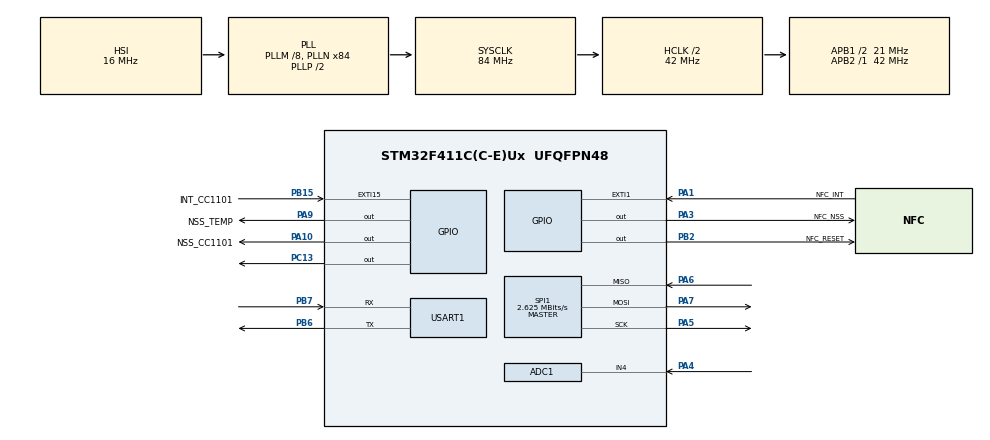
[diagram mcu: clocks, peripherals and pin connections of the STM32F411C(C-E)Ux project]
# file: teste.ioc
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ADC1.Channel-0\#ChannelRegularConversion=ADC_CHANNEL_4
ADC1.NbrOfConversionFlag=1
ADC1.Rank-0\#ChannelRegularConversion=1
ADC1.SamplingTime-0\#ChannelRegularConversion=ADC_SAMPLETIME_3CYCLES
ADC1.master=1
Mcu.Family=STM32F4
Mcu.Name=STM32F411C(C-E)Ux
Mcu.Package=UFQFPN48
NVIC.EXTI15_10_IRQn=true\:0\:0\:false\:false\:true\:true\:true\:true
NVIC.EXTI1_IRQn=true\:0\:0\:false\:false\:true\:true\:true\:true
NVIC.PriorityGroup=NVIC_PRIORITYGROUP_4
NVIC.USART1_IRQn=true\:0\:0\:false\:false\:true\:true\:true\:true
PA1.GPIO_Label=NFC_INT
PA1.GPIO_ModeDefaultEXTI=GPIO_MODE_IT_FALLING
PA1.GPIO_PuPd=GPIO_PULLUP
PA1.Signal=GPXTI1
PA10.GPIO_Label=NSS_CC1101
PA10.PinState=GPIO_PIN_SET
PA10.Signal=GPIO_Output
PA3.GPIO_Label=NFC_NSS
PA3.PinState=GPIO_PIN_SET
PA3.Signal=GPIO_Output
PA4.Signal=ADCx_IN4
PA5.Mode=Full_Duplex_Master
PA5.Signal=SPI1_SCK
PA6.Mode=Full_Duplex_Master
PA6.Signal=SPI1_MISO
PA7.Mode=Full_Duplex_Master
PA7.Signal=SPI1_MOSI
PA9.GPIO_Label=NSS_TEMP
PA9.PinState=GPIO_PIN_SET
PA9.Signal=GPIO_Output
PB15.GPIO_Label=INT_CC1101
PB15.GPIO_ModeDefaultEXTI=GPIO_MODE_IT_FALLING
PB15.GPIO_PuPd=GPIO_PULLUP
PB15.Signal=GPXTI15
PB2.GPIO_Label=NFC_RESET
PB2.PinState=GPIO_PIN_SET
PB2.Signal=GPIO_Output
PB6.Mode=Asynchronous
PB6.Signal=USART1_TX
PB7.Mode=Asynchronous
PB7.Signal=USART1_RX
PC13-ANTI_TAMP.Signal=GPIO_Output
PC14-OSC32_IN.Mode=LSE-External-Oscillator
PC14-OSC32_IN.Signal=RCC_OSC32_IN
PC15-OSC32_OUT.Mode=LSE-External-Oscillator
PC15-OSC32_OUT.Signal=RCC_OSC32_OUT
PH0\ -\ OSC_IN.Mode=HSE-External-Clock-Source
PH0\ -\ OSC_IN.Signal=RCC_OSC_IN
PH1\ -\ OSC_OUT.Mode=HSE-External-Clock-Source
PH1\ -\ OSC_OUT.Signal=RCC_OSC_OUT
ProjectManager.HeapSize=0x200
ProjectManager.StackSize=0x400
ProjectManager.TargetToolchain=CMake
RCC.48MHZClocksFreq_Value=42000000
RCC.AHBCLKDivider=RCC_SYSCLK_DIV2
RCC.AHBFreq_Value=42000000
RCC.APB1CLKDivider=RCC_HCLK_DIV2
RCC.APB1Freq_Value=21000000
RCC.APB1TimFreq_Value=42000000
RCC.APB2Freq_Value=42000000
RCC.APB2TimFreq_Value=42000000
RCC.CortexFreq_Value=42000000
RCC.HCLKFreq_Value=42000000
RCC.HSE_VALUE=25000000
RCC.HSI_VALUE=16000000
RCC.PLLM=8
RCC.PLLN=84
RCC.RCC_RTC_Clock_Source=RCC_RTCCLKSOURCE_LSE
RCC.RCC_RTC_Clock_SourceVirtual=RCC_RTCCLKSOURCE_LSE
RCC.SYSCLKFreq_VALUE=84000000
RCC.SYSCLKSource=RCC_SYSCLKSOURCE_PLLCLK
RCC.VCOOutputFreq_Value=168000000
SH.ADCx_IN4.0=ADC1_IN4,IN4
SPI1.BaudRatePrescaler=SPI_BAUDRATEPRESCALER_16
SPI1.CalculateBaudRate=2.625 MBits/s
SPI1.Direction=SPI_DIRECTION_2LINES
SPI1.Mode=SPI_MODE_MASTER
SPI1.VirtualType=VM_MASTER
USART1.VirtualMode=VM_ASYNC
VP_RTC_VS_RTC_Activate.Mode=RTC_Enabled
VP_RTC_VS_RTC_Calendar.Mode=RTC_Calendar
board=custom

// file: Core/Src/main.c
/* USER CODE BEGIN Header */
/**
  ******************************************************************************
  * @file           : main.c
  * @brief          : Main program body
  ******************************************************************************
  * @attention
  *
  * Copyright (c) 2026 STMicroelectronics.
  * All rights reserved.
  *
  * This software is licensed under terms that can be found in the LICENSE file
  * in the root directory of this software component.
  * If no LICENSE file comes with this software, it is provided AS-IS.
  *
  ******************************************************************************
  */
/* USER CODE END Header */
#include "main.h"

/* USER CODE BEGIN Includes */
#include "config.h"

#if FEATURE_NFC
#include "nfc_module.h"
#endif

#include <stdint.h>
#include <stdio.h>
/* USER CODE END Includes */

ADC_HandleTypeDef hadc1;

RTC_HandleTypeDef hrtc;

SPI_HandleTypeDef hspi1;

UART_HandleTypeDef huart1;

void SystemClock_Config(void);
static void MX_GPIO_Init(void);
static void MX_ADC1_Init(void);
static void MX_RTC_Init(void);
static void MX_SPI1_Init(void);
static void MX_USART1_UART_Init(void);

int main(void)
{

  /* MCU Configuration--------------------------------------------------------*/

  /* Reset of all peripherals, Initializes the Flash interface and the Systick. */
  HAL_Init();

  /* Configure the system clock */
  SystemClock_Config();

  /* Initialize all configured peripherals */
  MX_GPIO_Init();
  MX_ADC1_Init();
  MX_RTC_Init();
  MX_SPI1_Init();
  MX_USART1_UART_Init();
  /* USER CODE BEGIN 2 */
  #if FEATURE_NFC
  NFC_Module_Init();
  #endif
  /* USER CODE END 2 */

  /* Infinite loop */
  while (1)
  {

    /* USER CODE BEGIN 3 */
    #if FEATURE_NFC
    NFC_Module_Process();
    #endif
  }
  /* USER CODE END 3 */
}

void SystemClock_Config(void)
{
  RCC_OscInitTypeDef RCC_OscInitStruct = {0};
  RCC_ClkInitTypeDef RCC_ClkInitStruct = {0};

  /** Configure the main internal regulator output voltage
  */
  __HAL_RCC_PWR_CLK_ENABLE();
  __HAL_PWR_VOLTAGESCALING_CONFIG(PWR_REGULATOR_VOLTAGE_SCALE1);

  /** Initializes the RCC Oscillators according to the specified parameters
  * in the RCC_OscInitTypeDef structure.
  */
  RCC_OscInitStruct.OscillatorType = RCC_OSCILLATORTYPE_HSI|RCC_OSCILLATORTYPE_LSE;
  RCC_OscInitStruct.LSEState = RCC_LSE_ON;
  RCC_OscInitStruct.HSIState = RCC_HSI_ON;
  RCC_OscInitStruct.HSICalibrationValue = RCC_HSICALIBRATION_DEFAULT;
  RCC_OscInitStruct.PLL.PLLState = RCC_PLL_ON;
  RCC_OscInitStruct.PLL.PLLSource = RCC_PLLSOURCE_HSI;
  RCC_OscInitStruct.PLL.PLLM = 8;
  RCC_OscInitStruct.PLL.PLLN = 84;
  RCC_OscInitStruct.PLL.PLLP = RCC_PLLP_DIV2;
  RCC_OscInitStruct.PLL.PLLQ = 4;
  if (HAL_RCC_OscConfig(&RCC_OscInitStruct) != HAL_OK)
  {
    Error_Handler();
  }

  /** Initializes the CPU, AHB and APB buses clocks
  */
  RCC_ClkInitStruct.ClockType = RCC_CLOCKTYPE_HCLK|RCC_CLOCKTYPE_SYSCLK
                              |RCC_CLOCKTYPE_PCLK1|RCC_CLOCKTYPE_PCLK2;
  RCC_ClkInitStruct.SYSCLKSource = RCC_SYSCLKSOURCE_PLLCLK;
  RCC_ClkInitStruct.AHBCLKDivider = RCC_SYSCLK_DIV2;
  RCC_ClkInitStruct.APB1CLKDivider = RCC_HCLK_DIV2;
  RCC_ClkInitStruct.APB2CLKDivider = RCC_HCLK_DIV1;

  if (HAL_RCC_ClockConfig(&RCC_ClkInitStruct, FLASH_LATENCY_1) != HAL_OK)
  {
    Error_Handler();
  }
}

static void MX_ADC1_Init(void)
{

  ADC_ChannelConfTypeDef sConfig = {0};

  /** Configure the global features of the ADC (Clock, Resolution, Data Alignment and number of conversion)
  */
  hadc1.Instance = ADC1;
  hadc1.Init.ClockPrescaler = ADC_CLOCK_SYNC_PCLK_DIV2;
  hadc1.Init.Resolution = ADC_RESOLUTION_12B;
  hadc1.Init.ScanConvMode = DISABLE;
  hadc1.Init.ContinuousConvMode = DISABLE;
  hadc1.Init.DiscontinuousConvMode = DISABLE;
  hadc1.Init.ExternalTrigConvEdge = ADC_EXTERNALTRIGCONVEDGE_NONE;
  hadc1.Init.ExternalTrigConv = ADC_SOFTWARE_START;
  hadc1.Init.DataAlign = ADC_DATAALIGN_RIGHT;
  hadc1.Init.NbrOfConversion = 1;
  hadc1.Init.DMAContinuousRequests = DISABLE;
  hadc1.Init.EOCSelection = ADC_EOC_SINGLE_CONV;
  if (HAL_ADC_Init(&hadc1) != HAL_OK)
  {
    Error_Handler();
  }

  /** Configure for the selected ADC regular channel its corresponding rank in the sequencer and its sample time.
  */
  sConfig.Channel = ADC_CHANNEL_4;
  sConfig.Rank = 1;
  sConfig.SamplingTime = ADC_SAMPLETIME_3CYCLES;
  if (HAL_ADC_ConfigChannel(&hadc1, &sConfig) != HAL_OK)
  {
    Error_Handler();
  }

}

static void MX_RTC_Init(void)
{

  RTC_TimeTypeDef sTime = {0};
  RTC_DateTypeDef sDate = {0};

  /** Initialize RTC Only
  */
  hrtc.Instance = RTC;
  hrtc.Init.HourFormat = RTC_HOURFORMAT_24;
  hrtc.Init.AsynchPrediv = 127;
  hrtc.Init.SynchPrediv = 255;
  hrtc.Init.OutPut = RTC_OUTPUT_DISABLE;
  hrtc.Init.OutPutPolarity = RTC_OUTPUT_POLARITY_HIGH;
  hrtc.Init.OutPutType = RTC_OUTPUT_TYPE_OPENDRAIN;
  if (HAL_RTC_Init(&hrtc) != HAL_OK)
  {
    Error_Handler();
  }

  /** Initialize RTC and set the Time and Date
  */
  sTime.Hours = 0x0;
  sTime.Minutes = 0x0;
  sTime.Seconds = 0x0;
  sTime.DayLightSaving = RTC_DAYLIGHTSAVING_NONE;
  sTime.StoreOperation = RTC_STOREOPERATION_RESET;
  if (HAL_RTC_SetTime(&hrtc, &sTime, RTC_FORMAT_BCD) != HAL_OK)
  {
    Error_Handler();
  }
  sDate.WeekDay = RTC_WEEKDAY_MONDAY;
  sDate.Month = RTC_MONTH_JANUARY;
  sDate.Date = 0x1;
  sDate.Year = 0x0;

  if (HAL_RTC_SetDate(&hrtc, &sDate, RTC_FORMAT_BCD) != HAL_OK)
  {
    Error_Handler();
  }

}

static void MX_SPI1_Init(void)
{

  /* SPI1 parameter configuration*/
  hspi1.Instance = SPI1;
  hspi1.Init.Mode = SPI_MODE_MASTER;
  hspi1.Init.Direction = SPI_DIRECTION_2LINES;
  hspi1.Init.DataSize = SPI_DATASIZE_8BIT;
  hspi1.Init.CLKPolarity = SPI_POLARITY_LOW;
  hspi1.Init.CLKPhase = SPI_PHASE_1EDGE;
  hspi1.Init.NSS = SPI_NSS_SOFT;
  hspi1.Init.BaudRatePrescaler = SPI_BAUDRATEPRESCALER_16;
  hspi1.Init.FirstBit = SPI_FIRSTBIT_MSB;
  hspi1.Init.TIMode = SPI_TIMODE_DISABLE;
  hspi1.Init.CRCCalculation = SPI_CRCCALCULATION_DISABLE;
  hspi1.Init.CRCPolynomial = 10;
  if (HAL_SPI_Init(&hspi1) != HAL_OK)
  {
    Error_Handler();
  }

}

static void MX_USART1_UART_Init(void)
{

  huart1.Instance = USART1;
  huart1.Init.BaudRate = 115200;
  huart1.Init.WordLength = UART_WORDLENGTH_8B;
  huart1.Init.StopBits = UART_STOPBITS_1;
  huart1.Init.Parity = UART_PARITY_NONE;
  huart1.Init.Mode = UART_MODE_TX_RX;
  huart1.Init.HwFlowCtl = UART_HWCONTROL_NONE;
  huart1.Init.OverSampling = UART_OVERSAMPLING_16;
  if (HAL_UART_Init(&huart1) != HAL_OK)
  {
    Error_Handler();
  }

}

static void MX_GPIO_Init(void)
{
  GPIO_InitTypeDef GPIO_InitStruct = {0};

  /* GPIO Ports Clock Enable */
  __HAL_RCC_GPIOC_CLK_ENABLE();
  __HAL_RCC_GPIOH_CLK_ENABLE();
  __HAL_RCC_GPIOA_CLK_ENABLE();
  __HAL_RCC_GPIOB_CLK_ENABLE();

  /*Configure GPIO pin Output Level */
  HAL_GPIO_WritePin(GPIOC, GPIO_PIN_13, GPIO_PIN_RESET);

  /*Configure GPIO pin Output Level */
  HAL_GPIO_WritePin(GPIOA, NFC_NSS_Pin|NSS_TEMP_Pin|NSS_CC1101_Pin, GPIO_PIN_SET);

  /*Configure GPIO pin Output Level */
  HAL_GPIO_WritePin(NFC_RESET_GPIO_Port, NFC_RESET_Pin, GPIO_PIN_SET);

  /*Configure GPIO pin : PC13 */
  GPIO_InitStruct.Pin = GPIO_PIN_13;
  GPIO_InitStruct.Mode = GPIO_MODE_OUTPUT_PP;
  GPIO_InitStruct.Pull = GPIO_NOPULL;
  GPIO_InitStruct.Speed = GPIO_SPEED_FREQ_LOW;
  HAL_GPIO_Init(GPIOC, &GPIO_InitStruct);

  /*Configure GPIO pin : NFC_INT_Pin */
  GPIO_InitStruct.Pin = NFC_INT_Pin;
  GPIO_InitStruct.Mode = GPIO_MODE_IT_FALLING;
  GPIO_InitStruct.Pull = GPIO_PULLUP;
  HAL_GPIO_Init(NFC_INT_GPIO_Port, &GPIO_InitStruct);

  /*Configure GPIO pins : NFC_NSS_Pin NSS_TEMP_Pin NSS_CC1101_Pin */
  GPIO_InitStruct.Pin = NFC_NSS_Pin|NSS_TEMP_Pin|NSS_CC1101_Pin;
  GPIO_InitStruct.Mode = GPIO_MODE_OUTPUT_PP;
  GPIO_InitStruct.Pull = GPIO_NOPULL;
  GPIO_InitStruct.Speed = GPIO_SPEED_FREQ_LOW;
  HAL_GPIO_Init(GPIOA, &GPIO_InitStruct);

  /*Configure GPIO pin : NFC_RESET_Pin */
  GPIO_InitStruct.Pin = NFC_RESET_Pin;
  GPIO_InitStruct.Mode = GPIO_MODE_OUTPUT_PP;
  GPIO_InitStruct.Pull = GPIO_NOPULL;
  GPIO_InitStruct.Speed = GPIO_SPEED_FREQ_LOW;
  HAL_GPIO_Init(NFC_RESET_GPIO_Port, &GPIO_InitStruct);

  /*Configure GPIO pin : INT_CC1101_Pin */
  GPIO_InitStruct.Pin = INT_CC1101_Pin;
  GPIO_InitStruct.Mode = GPIO_MODE_IT_FALLING;
  GPIO_InitStruct.Pull = GPIO_PULLUP;
  HAL_GPIO_Init(INT_CC1101_GPIO_Port, &GPIO_InitStruct);

  /* EXTI interrupt init*/
  HAL_NVIC_SetPriority(EXTI1_IRQn, 0, 0);
  HAL_NVIC_EnableIRQ(EXTI1_IRQn);

  HAL_NVIC_SetPriority(EXTI15_10_IRQn, 0, 0);
  HAL_NVIC_EnableIRQ(EXTI15_10_IRQn);

}

/* USER CODE BEGIN 4 */
int __io_putchar(int ch)
{
  HAL_UART_Transmit(&huart1, (uint8_t *)&ch, 1, 0xFFFF);
  return ch;
}

void HAL_GPIO_EXTI_Callback(uint16_t GPIO_Pin)
{
  #if FEATURE_NFC
  if (GPIO_Pin == NFC_INT_Pin) NFC_Module_IRQ();
  #endif
}
/* USER CODE END 4 */

void Error_Handler(void)
{
  __disable_irq();
  while (1) {}
}
